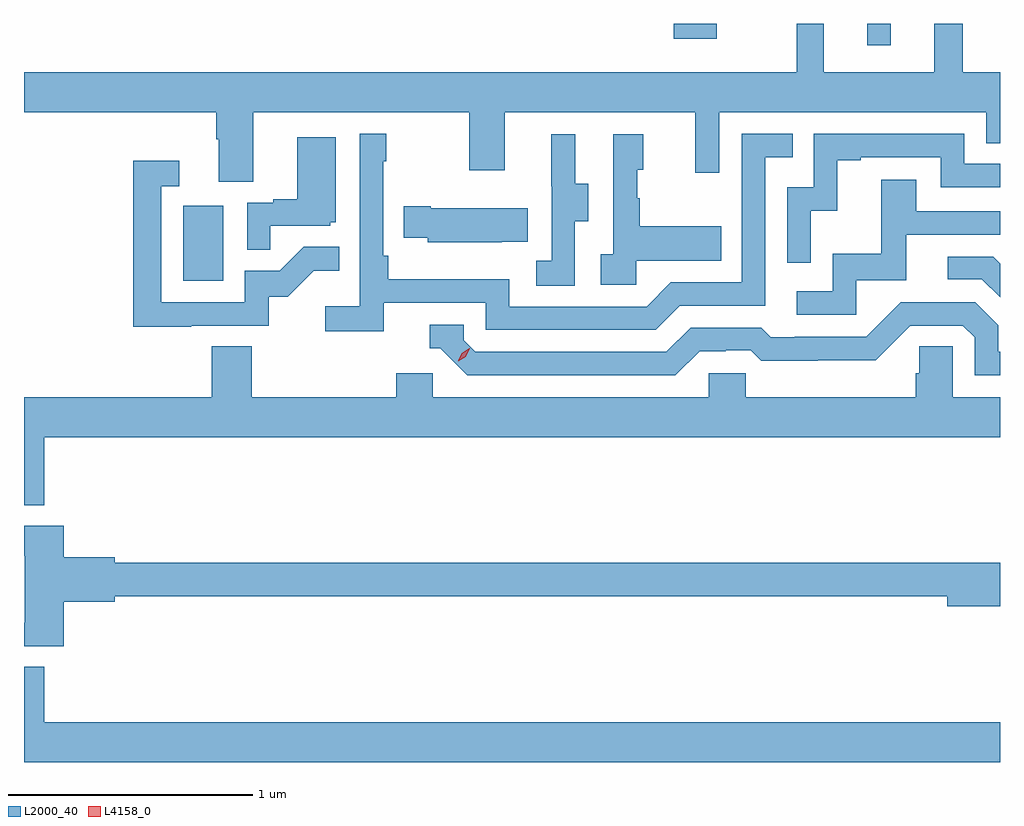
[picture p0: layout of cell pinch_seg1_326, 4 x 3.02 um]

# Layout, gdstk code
import gdstk
lib = gdstk.Library(unit=1e-6, precision=1e-09)
def R(c, l, rs):  # rectangles x0, y0, x1, y1
    for r in rs: c.add(gdstk.rectangle(r[:2], r[2:], *l))
def P(c, l, *ps):  # polygons
    for p in ps: c.add(gdstk.Polygon(p, *l))
L2000_40 = (2000, 40)
L4158_0 = (4158, 0)

pinch_seg1_326 = lib.new_cell('pinch_seg1_326')
R(pinch_seg1_326, L2000_40, [(984.056,560.364,984.22,560.671), (986.859,561.33,986.956,561.417), (986.066,561.357,986.244,561.417)])
P(pinch_seg1_326, L2000_40, [(984.343,561.056),(985.228,561.056),(985.228,560.817),(985.375,560.817),(985.375,561.056),(986.156,561.056),(986.156,560.808),(986.253,560.808),(986.253,561.056),(987.348,561.056),(987.348,560.929),(987.404,560.929),(987.404,561.22),(987.251,561.22),(987.251,561.417),(987.134,561.417),(987.134,561.22),(986.681,561.22),(986.681,561.417),(986.571,561.417),(986.571,561.22),(983.404,561.22),(983.404,561.056),(984.191,561.056),(984.191,560.944),(984.203,560.944),(984.203,560.77),(984.343,560.77)],
  [(984.878,560.274),(985.296,560.274),(985.296,560.163),(985.993,560.163),(986.092,560.262),(986.442,560.262),(986.442,560.871),(986.555,560.871),(986.555,560.967),(986.346,560.967),(986.346,560.358),(986.055,560.358),(985.956,560.259),(985.392,560.259),(985.392,560.371),(984.896,560.371),(984.896,560.467),(984.876,560.467),(984.876,560.855),(984.889,560.855),(984.889,560.968),(984.78,560.968),(984.78,560.26),(984.639,560.26),(984.639,560.158),(984.878,560.158)],
  [(986.628,560.651),(986.738,560.651),(986.738,560.859),(986.833,560.859),(986.833,560.871),(987.162,560.871),(987.162,560.748),(987.404,560.748),(987.404,560.844),(987.258,560.844),(987.258,560.967),(986.64,560.967),(986.64,560.748),(986.532,560.748),(986.532,560.439),(986.628,560.439)],
  [(985.914,560.447),(986.261,560.447),(986.261,560.587),(985.927,560.587),(985.927,560.702),(985.917,560.702),(985.917,560.82),(985.942,560.82),(985.942,560.965),(985.818,560.965),(985.818,560.474),(985.767,560.474),(985.767,560.349),(985.914,560.349)],
  [(985.662,560.608),(985.717,560.608),(985.717,560.763),(985.663,560.763),(985.663,560.965),(985.565,560.965),(985.565,560.751),(985.566,560.751),(985.566,560.447),(985.503,560.447),(985.503,560.344),(985.662,560.344)],
  [(984.413,560.589),(984.66,560.589),(984.66,560.604),(984.682,560.604),(984.682,560.953),(984.524,560.953),(984.524,560.698),(984.425,560.698),(984.425,560.685),(984.318,560.685),(984.318,560.491),(984.413,560.491)],
  [(984.089,560.181),(984.408,560.181),(984.408,560.298),(984.484,560.298),(984.591,560.405),(984.695,560.405),(984.695,560.504),(984.551,560.504),(984.453,560.406),(984.309,560.406),(984.309,560.277),(983.967,560.277),(983.967,560.751),(984.04,560.751),(984.04,560.857),(983.851,560.857),(983.851,560.176),(984.089,560.176)],
  [(986.814,560.367),(987.019,560.367),(987.019,560.553),(987.404,560.553),(987.404,560.649),(987.061,560.649),(987.061,560.779),(986.917,560.779),(986.917,560.476),(986.718,560.476),(986.718,560.322),(986.571,560.322),(986.571,560.226),(986.814,560.226)],
  [(985.361,560.525),(985.469,560.525),(985.469,560.662),(985.072,560.662),(985.072,560.67),(984.961,560.67),(984.961,560.54),(985.059,560.54),(985.059,560.522),(985.361,560.522)],
  [(987.404,560.435),(987.376,560.463),(987.189,560.463),(987.189,560.37),(987.33,560.37),(987.404,560.296)],
  [(986.173,560.076),(986.28,560.076),(986.28,560.079),(986.383,560.079),(986.425,560.037),(986.658,560.037),(986.658,560.039),(986.894,560.039),(987.036,560.181),(987.252,560.181),(987.3,560.133),(987.3,559.977),(987.404,559.977),(987.404,560.073),(987.397,560.073),(987.397,560.183),(987.303,560.277),(986.997,560.277),(986.856,560.136),(986.563,560.136),(986.563,560.133),(986.464,560.133),(986.425,560.172),(986.136,560.172),(986.037,560.073),(985.254,560.073),(985.206,560.121),(985.206,560.184),(985.067,560.184),(985.067,560.088),(985.11,560.088),(985.221,559.977),(986.074,559.977)],
  [(983.486,559.724),(987.404,559.724),(987.404,559.888),(987.21,559.888),(987.21,560.096),(987.073,560.096),(987.073,559.986),(987.059,559.986),(987.059,559.888),(986.361,559.888),(986.361,559.986),(986.211,559.986),(986.211,559.888),(985.08,559.888),(985.08,559.986),(984.929,559.986),(984.929,559.888),(984.338,559.888),(984.338,560.096),(984.173,560.096),(984.173,559.888),(983.404,559.888),(983.404,559.445),(983.486,559.445)],
  [(983.567,559.049),(983.776,559.049),(983.776,559.072),(987.188,559.072),(987.188,559.03),(987.404,559.03),(987.404,559.208),(983.776,559.208),(983.776,559.232),(983.567,559.232),(983.567,559.36),(983.404,559.36),(983.404,559.238),(983.408,559.238),(983.408,558.963),(983.404,558.963),(983.404,558.867),(983.567,558.867)],
  [(987.404,558.556),(983.486,558.556),(983.486,558.782),(983.404,558.782),(983.404,558.392),(987.404,558.392)])
P(pinch_seg1_326, L4158_0, [(985.183,560.035),(985.183,560.036),(985.199,560.068),(985.229,560.087),(985.23,560.087),(985.23,560.087),(985.214,560.054),(985.183,560.035)])

lib.write_gds('pinch_seg1_326.gds')
